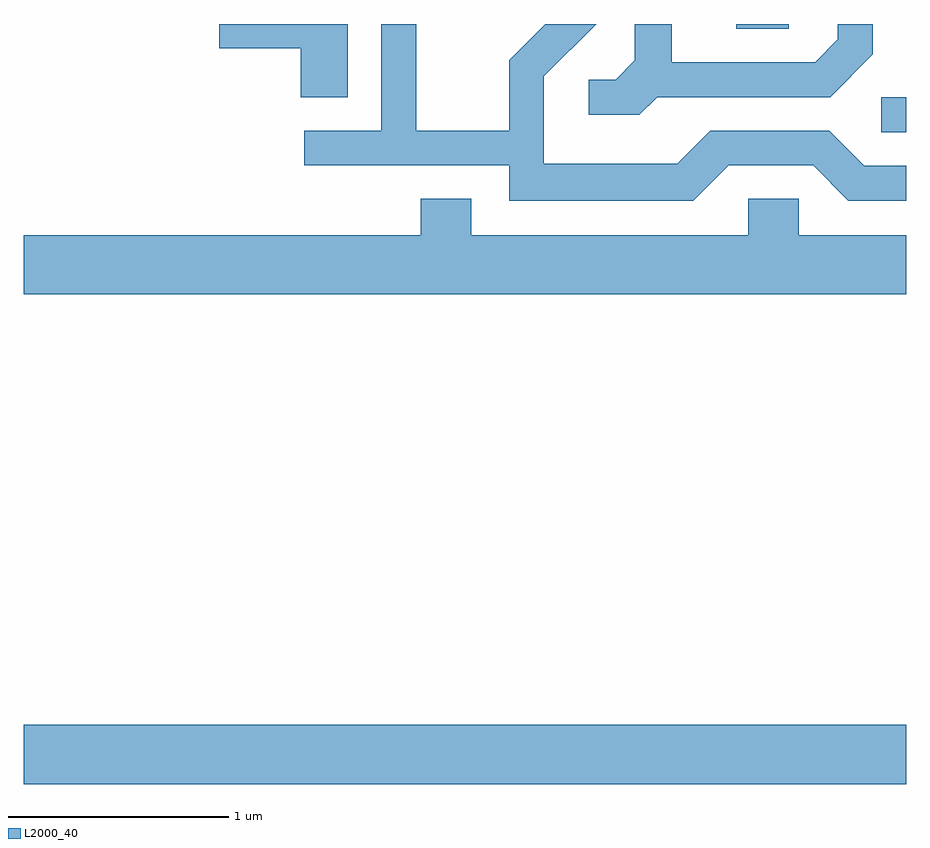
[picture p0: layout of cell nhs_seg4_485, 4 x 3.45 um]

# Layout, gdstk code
import gdstk
lib = gdstk.Library(unit=1e-6, precision=1e-09)
def R(c, l, rs):  # rectangles x0, y0, x1, y1
    for r in rs: c.add(gdstk.rectangle(r[:2], r[2:], *l))
def P(c, l, *ps):  # polygons
    for p in ps: c.add(gdstk.Polygon(p, *l))
L2000_40 = (2000, 40)

nhs_seg4_485 = lib.new_cell('nhs_seg4_485')
R(nhs_seg4_485, L2000_40, [(199.611,1272.536,203.611,1272.804), (203.498,1275.491,203.611,1275.649), (202.841,1275.961,203.079,1275.982)])
P(nhs_seg4_485, L2000_40, [(202.482,1275.651),(203.267,1275.651),(203.459,1275.844),(203.459,1275.982),(203.301,1275.982),(203.301,1275.912),(203.199,1275.809),(202.549,1275.809),(202.549,1275.982),(202.381,1275.982),(202.381,1275.817),(202.294,1275.729),(202.173,1275.729),(202.173,1275.571),(202.402,1275.571)],
  [(202.807,1275.341),(203.189,1275.341),(203.349,1275.181),(203.611,1275.181),(203.611,1275.339),(203.422,1275.339),(203.262,1275.499),(202.724,1275.499),(202.574,1275.349),(201.969,1275.349),(201.969,1275.744),(202.207,1275.982),(201.976,1275.982),(201.811,1275.817),(201.811,1275.499),(201.389,1275.499),(201.389,1275.982),(201.231,1275.982),(201.231,1275.499),(200.883,1275.499),(200.883,1275.341),(201.811,1275.341),(201.811,1275.181),(202.647,1275.181)],
  [(201.079,1275.982),(200.496,1275.982),(200.496,1275.871),(200.866,1275.871),(200.866,1275.651),(201.079,1275.651)],
  [(203.611,1275.024),(203.124,1275.024),(203.124,1275.189),(202.896,1275.189),(202.896,1275.024),(201.639,1275.024),(201.639,1275.189),(201.411,1275.189),(201.411,1275.024),(199.611,1275.024),(199.611,1274.756),(203.611,1274.756)])

lib.write_gds('nhs_seg4_485.gds')
